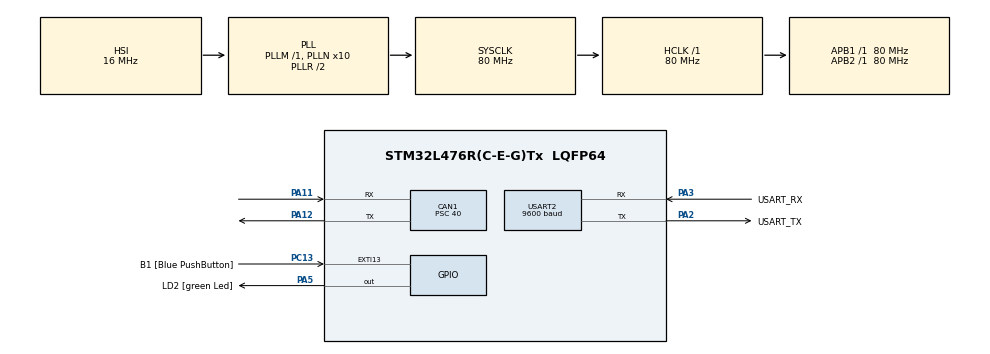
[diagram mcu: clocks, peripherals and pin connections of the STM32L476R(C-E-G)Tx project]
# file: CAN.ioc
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CAN1.BS1=CAN_BS1_10TQ
CAN1.BS2=CAN_BS2_6TQ
CAN1.CalculateTimeQuantum=500.0
CAN1.Mode=CAN_MODE_SILENT_LOOPBACK
CAN1.NART=ENABLE
CAN1.Prescaler=40
Mcu.Family=STM32L4
Mcu.Name=STM32L476R(C-E-G)Tx
Mcu.Package=LQFP64
NVIC.PriorityGroup=NVIC_PRIORITYGROUP_4
PA11.Mode=Master
PA11.Signal=CAN1_RX
PA12.Mode=Master
PA12.Signal=CAN1_TX
PA13\ (JTMS-SWDIO).GPIO_Label=TMS
PA13\ (JTMS-SWDIO).Mode=Serial_Wire
PA13\ (JTMS-SWDIO).Signal=SYS_JTMS-SWDIO
PA14\ (JTCK-SWCLK).GPIO_Label=TCK
PA14\ (JTCK-SWCLK).Mode=Serial_Wire
PA14\ (JTCK-SWCLK).Signal=SYS_JTCK-SWCLK
PA2.GPIO_Label=USART_TX
PA2.GPIO_Mode=GPIO_MODE_AF_PP
PA2.GPIO_PuPd=GPIO_NOPULL
PA2.GPIO_Speed=GPIO_SPEED_FREQ_VERY_HIGH
PA2.Mode=Asynchronous
PA2.Signal=USART2_TX
PA3.GPIO_Label=USART_RX
PA3.GPIO_Mode=GPIO_MODE_AF_PP
PA3.GPIO_PuPd=GPIO_NOPULL
PA3.GPIO_Speed=GPIO_SPEED_FREQ_VERY_HIGH
PA3.Mode=Asynchronous
PA3.Signal=USART2_RX
PA5.GPIO_Label=LD2 [green Led]
PA5.GPIO_ModeDefaultOutputPP=GPIO_MODE_OUTPUT_PP
PA5.GPIO_PuPd=GPIO_NOPULL
PA5.GPIO_Speed=GPIO_SPEED_FREQ_LOW
PA5.Signal=GPIO_Output
PB3\ (JTDO-TRACESWO).GPIO_Label=SWO
PB3\ (JTDO-TRACESWO).Signal=SYS_JTDO-SWO
PC13.GPIO_Label=B1 [Blue PushButton]
PC13.GPIO_ModeDefaultEXTI=GPIO_MODE_IT_FALLING
PC13.GPIO_PuPd=GPIO_NOPULL
PC13.Signal=GPXTI13
PC14-OSC32_IN\ (PC14).Mode=LSE-External-Oscillator
PC14-OSC32_IN\ (PC14).Signal=RCC_OSC32_IN
PC15-OSC32_OUT\ (PC15).Mode=LSE-External-Oscillator
PC15-OSC32_OUT\ (PC15).Signal=RCC_OSC32_OUT
PH0-OSC_IN\ (PH0).Signal=RCC_OSC_IN
PH1-OSC_OUT\ (PH1).Signal=RCC_OSC_OUT
ProjectManager.HeapSize=0x200
ProjectManager.StackSize=0x400
ProjectManager.TargetToolchain=TrueSTUDIO
RCC.ADCFreq_Value=64000000
RCC.AHBFreq_Value=80000000
RCC.APB1Freq_Value=80000000
RCC.APB1TimFreq_Value=80000000
RCC.APB2Freq_Value=80000000
RCC.APB2TimFreq_Value=80000000
RCC.CortexFreq_Value=80000000
RCC.HCLKFreq_Value=80000000
RCC.HSE_Timout=100
RCC.HSE_VALUE=8000000
RCC.HSI_VALUE=16000000
RCC.MSI_VALUE=4000000
RCC.PLLN=10
RCC.PLLSourceVirtual=RCC_PLLSOURCE_HSI
RCC.PREFETCH_ENABLE=1
RCC.SYSCLKFreq_VALUE=80000000
RCC.SYSCLKSource=RCC_SYSCLKSOURCE_PLLCLK
RCC.USBFreq_Value=64000000
RCC.VCOOutputFreq_Value=160000000
USART2.BaudRate=9600
USART2.VirtualMode-Asynchronous=VM_ASYNC
USART2.WordLength=WORDLENGTH_8B
board=NUCLEO-L476RG

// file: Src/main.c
/**
  ******************************************************************************
  * @file           : main.c
  * @brief          : Main program body
  ******************************************************************************
  ** This notice applies to any and all portions of this file
  * that are not between comment pairs USER CODE BEGIN and
  * USER CODE END. Other portions of this file, whether
  * inserted by the user or by software development tools
  * are owned by their respective copyright owners.
  *
  * COPYRIGHT(c) 2018 STMicroelectronics
  *
  * Redistribution and use in source and binary forms, with or without modification,
  * are permitted provided that the following conditions are met:
  *   1. Redistributions of source code must retain the above copyright notice,
  *      this list of conditions and the following disclaimer.
  *   2. Redistributions in binary form must reproduce the above copyright notice,
  *      this list of conditions and the following disclaimer in the documentation
  *      and/or other materials provided with the distribution.
  *   3. Neither the name of STMicroelectronics nor the names of its contributors
  *      may be used to endorse or promote products derived from this software
  *      without specific prior written permission.
  *
  * THIS SOFTWARE IS PROVIDED BY THE COPYRIGHT HOLDERS AND CONTRIBUTORS "AS IS"
  * AND ANY EXPRESS OR IMPLIED WARRANTIES, INCLUDING, BUT NOT LIMITED TO, THE
  * IMPLIED WARRANTIES OF MERCHANTABILITY AND FITNESS FOR A PARTICULAR PURPOSE ARE
  * DISCLAIMED. IN NO EVENT SHALL THE COPYRIGHT HOLDER OR CONTRIBUTORS BE LIABLE
  * FOR ANY DIRECT, INDIRECT, INCIDENTAL, SPECIAL, EXEMPLARY, OR CONSEQUENTIAL
  * DAMAGES (INCLUDING, BUT NOT LIMITED TO, PROCUREMENT OF SUBSTITUTE GOODS OR
  * SERVICES; LOSS OF USE, DATA, OR PROFITS; OR BUSINESS INTERRUPTION) HOWEVER
  * CAUSED AND ON ANY THEORY OF LIABILITY, WHETHER IN CONTRACT, STRICT LIABILITY,
  * OR TORT (INCLUDING NEGLIGENCE OR OTHERWISE) ARISING IN ANY WAY OUT OF THE USE
  * OF THIS SOFTWARE, EVEN IF ADVISED OF THE POSSIBILITY OF SUCH DAMAGE.
  *
  ******************************************************************************
  */
#include "main.h"
#include "stm32l4xx_hal.h"

CAN_HandleTypeDef hcan1;

UART_HandleTypeDef huart2;

/* USER CODE BEGIN PV */
/* Private variables ---------------------------------------------------------*/
#define STD_ID1 0x0001  // CAN Standard Identifier 1
#define STD_ID2 0x0002  // CAN Standard Identifier 2
#define FILTER_ID1 0x0001  // Filter 1
#define FILTER_MASK1 0x003F  // Mask 1
#define FILTER_ID2 0x0002  // Filter 2
#define FILTER_MASK2 0x003F  // Mask 2
/* USER CODE END PV */

void SystemClock_Config(void);
static void MX_GPIO_Init(void);
static void MX_USART2_UART_Init(void);
static void MX_CAN1_Init(void);

/* USER CODE BEGIN PFP */
/* Private function prototypes -----------------------------------------------*/

/* USER CODE END PFP */

/* USER CODE BEGIN 0 */
// printf redirect
int _write(int file, char *pbuf, int len) {
  HAL_UART_Transmit(&huart2, (uint8_t *)pbuf, len, 1000);
  return len;
}
/* USER CODE END 0 */

int main(void)
{
  /* USER CODE BEGIN 1 */
  uint8_t payload1[] = "Hello!\0";  // Payload for StdID 1
  uint8_t payload2[] = "World!\0";  // Payload for StdID 2

  uint8_t RxData[8] = { 0 };
  CAN_RxHeaderTypeDef RxHeader;

  uint32_t TxMailbox1;
  uint32_t TxMailbox2;

  CAN_TxHeaderTypeDef header1;
  header1.StdId = STD_ID1;
  header1.ExtId = 0x0000;
  header1.DLC = sizeof(payload1);
  header1.RTR = CAN_RTR_DATA;
  header1.IDE = CAN_ID_STD;
  header1.TransmitGlobalTime = DISABLE;

  CAN_TxHeaderTypeDef header2;
  header2.StdId = STD_ID2;
  header2.ExtId = 0x0000;
  header2.DLC = sizeof(payload2);
  header2.RTR = CAN_RTR_DATA;
  header2.IDE = CAN_ID_STD;
  header2.TransmitGlobalTime = DISABLE;

  /*
   * Filter setting for Filter Bank 0
   * STM32L4 reference manual P1657
   */
  CAN_FilterTypeDef filterConf0;
  filterConf0.FilterBank = 0;
  filterConf0.FilterMode = CAN_FILTERMODE_IDMASK;
  filterConf0.FilterScale = CAN_FILTERSCALE_32BIT;
  filterConf0.FilterIdHigh = FILTER_ID1 << 5;
  filterConf0.FilterIdLow = 0x0000;
  filterConf0.FilterMaskIdHigh = FILTER_MASK1 << 5;
  filterConf0.FilterMaskIdLow = 0x0000;
  filterConf0.FilterFIFOAssignment = CAN_RX_FIFO0;
  filterConf0.FilterActivation = ENABLE;

  /*
   * Filter setting for Filter Bank 1
   * STM32L4 reference manual P1657
   */
  CAN_FilterTypeDef filterConf1;
  filterConf1.FilterBank = 1;
  filterConf1.FilterMode = CAN_FILTERMODE_IDMASK;
  filterConf1.FilterScale = CAN_FILTERSCALE_32BIT;
  filterConf1.FilterIdHigh = FILTER_ID2 << 5;
  filterConf1.FilterIdLow = 0x0000;
  filterConf1.FilterMaskIdHigh = FILTER_MASK2 << 5;
  filterConf1.FilterMaskIdLow = 0x0000;
  filterConf1.FilterFIFOAssignment = CAN_RX_FIFO1;
  filterConf1.FilterActivation = ENABLE;

  /* USER CODE END 1 */

  /* MCU Configuration----------------------------------------------------------*/

  /* Reset of all peripherals, Initializes the Flash interface and the Systick. */
  HAL_Init();

  /* Configure the system clock */
  SystemClock_Config();

  /* Initialize all configured peripherals */
  MX_GPIO_Init();
  MX_USART2_UART_Init();
  MX_CAN1_Init();
  /* USER CODE BEGIN 2 */
  if (HAL_CAN_ConfigFilter(&hcan1, &filterConf0) != HAL_OK) {
    Error_Handler();
  }
  if (HAL_CAN_ConfigFilter(&hcan1, &filterConf1) != HAL_OK) {
    Error_Handler();
  }

  if (HAL_CAN_Start(&hcan1) != HAL_OK) {
    Error_Handler();
  }
  /* USER CODE END 2 */

  /* Infinite loop */
  /* USER CODE BEGIN WHILE */
  while (1)
  {

    // Transmit message
    if (HAL_CAN_AddTxMessage(&hcan1, &header1, payload1, &TxMailbox1) != HAL_OK) {
      Error_Handler();
    }
    printf("\n[1] MailBox#: %d\n", (int)TxMailbox1);

    // Wait for all the three mailboxes to be free
    while(HAL_CAN_GetTxMailboxesFreeLevel(&hcan1) != 3) {
      HAL_Delay(8);
    }

    if (HAL_CAN_AddTxMessage(&hcan1, &header2, payload2, &TxMailbox2) != HAL_OK) {
      Error_Handler();
    }
    printf("[2] MailBox#: %d\n", (int)TxMailbox2);

    // Wait for all the three mailboxes to be free
    while(HAL_CAN_GetTxMailboxesFreeLevel(&hcan1) != 3) {
      HAL_Delay(8);
    }

    // Wait for incoming message to be filled
    while(HAL_CAN_GetRxFifoFillLevel(&hcan1, CAN_RX_FIFO0) == 0) {
      HAL_Delay(8);
    }

    // Get the incoming message
    if(HAL_CAN_GetRxMessage(&hcan1, CAN_RX_FIFO0, &RxHeader, RxData) != HAL_OK) {
      Error_Handler();
    } else {
      printf("[1] StdId: %d\n", (int)RxHeader.StdId);
      printf("[1] RX_FIFO0: %s\n", RxData);
    }

    // Wait for incoming message to be filled
    while(HAL_CAN_GetRxFifoFillLevel(&hcan1, CAN_RX_FIFO1) == 0) {
      HAL_Delay(8);
    }

    // Get the incoming message
    if(HAL_CAN_GetRxMessage(&hcan1, CAN_RX_FIFO1, &RxHeader, RxData) != HAL_OK) {
      Error_Handler();
    } else {
      printf("[2] StdId: %d\n", (int)RxHeader.StdId);
      printf("[2] RX_FIFO1: %s\n", RxData);
    }

    HAL_GPIO_TogglePin(LD2_GPIO_Port, LD2_Pin);
    HAL_Delay(1000);

  /* USER CODE END WHILE */

  }

}

void SystemClock_Config(void)
{

  RCC_OscInitTypeDef RCC_OscInitStruct;
  RCC_ClkInitTypeDef RCC_ClkInitStruct;
  RCC_PeriphCLKInitTypeDef PeriphClkInit;

    /**Initializes the CPU, AHB and APB busses clocks
    */
  RCC_OscInitStruct.OscillatorType = RCC_OSCILLATORTYPE_HSI;
  RCC_OscInitStruct.HSIState = RCC_HSI_ON;
  RCC_OscInitStruct.HSICalibrationValue = 16;
  RCC_OscInitStruct.PLL.PLLState = RCC_PLL_ON;
  RCC_OscInitStruct.PLL.PLLSource = RCC_PLLSOURCE_HSI;
  RCC_OscInitStruct.PLL.PLLM = 1;
  RCC_OscInitStruct.PLL.PLLN = 10;
  RCC_OscInitStruct.PLL.PLLP = RCC_PLLP_DIV7;
  RCC_OscInitStruct.PLL.PLLQ = RCC_PLLQ_DIV2;
  RCC_OscInitStruct.PLL.PLLR = RCC_PLLR_DIV2;
  if (HAL_RCC_OscConfig(&RCC_OscInitStruct) != HAL_OK)
  {
    _Error_Handler(__FILE__, __LINE__);
  }

    /**Initializes the CPU, AHB and APB busses clocks
    */
  RCC_ClkInitStruct.ClockType = RCC_CLOCKTYPE_HCLK|RCC_CLOCKTYPE_SYSCLK
                              |RCC_CLOCKTYPE_PCLK1|RCC_CLOCKTYPE_PCLK2;
  RCC_ClkInitStruct.SYSCLKSource = RCC_SYSCLKSOURCE_PLLCLK;
  RCC_ClkInitStruct.AHBCLKDivider = RCC_SYSCLK_DIV1;
  RCC_ClkInitStruct.APB1CLKDivider = RCC_HCLK_DIV1;
  RCC_ClkInitStruct.APB2CLKDivider = RCC_HCLK_DIV1;

  if (HAL_RCC_ClockConfig(&RCC_ClkInitStruct, FLASH_LATENCY_4) != HAL_OK)
  {
    _Error_Handler(__FILE__, __LINE__);
  }

  PeriphClkInit.PeriphClockSelection = RCC_PERIPHCLK_USART2;
  PeriphClkInit.Usart2ClockSelection = RCC_USART2CLKSOURCE_PCLK1;
  if (HAL_RCCEx_PeriphCLKConfig(&PeriphClkInit) != HAL_OK)
  {
    _Error_Handler(__FILE__, __LINE__);
  }

    /**Configure the main internal regulator output voltage
    */
  if (HAL_PWREx_ControlVoltageScaling(PWR_REGULATOR_VOLTAGE_SCALE1) != HAL_OK)
  {
    _Error_Handler(__FILE__, __LINE__);
  }

    /**Configure the Systick interrupt time
    */
  HAL_SYSTICK_Config(HAL_RCC_GetHCLKFreq()/1000);

    /**Configure the Systick
    */
  HAL_SYSTICK_CLKSourceConfig(SYSTICK_CLKSOURCE_HCLK);

  /* SysTick_IRQn interrupt configuration */
  HAL_NVIC_SetPriority(SysTick_IRQn, 0, 0);
}

/* CAN1 init function */
static void MX_CAN1_Init(void)
{

  hcan1.Instance = CAN1;
  hcan1.Init.Prescaler = 40;
  hcan1.Init.Mode = CAN_MODE_SILENT_LOOPBACK;
  hcan1.Init.SyncJumpWidth = CAN_SJW_1TQ;
  hcan1.Init.TimeSeg1 = CAN_BS1_10TQ;
  hcan1.Init.TimeSeg2 = CAN_BS2_6TQ;
  hcan1.Init.TimeTriggeredMode = DISABLE;
  hcan1.Init.AutoBusOff = DISABLE;
  hcan1.Init.AutoWakeUp = DISABLE;
  hcan1.Init.AutoRetransmission = ENABLE;
  hcan1.Init.ReceiveFifoLocked = DISABLE;
  hcan1.Init.TransmitFifoPriority = DISABLE;
  if (HAL_CAN_Init(&hcan1) != HAL_OK)
  {
    _Error_Handler(__FILE__, __LINE__);
  }

}

/* USART2 init function */
static void MX_USART2_UART_Init(void)
{

  huart2.Instance = USART2;
  huart2.Init.BaudRate = 9600;
  huart2.Init.WordLength = UART_WORDLENGTH_8B;
  huart2.Init.StopBits = UART_STOPBITS_1;
  huart2.Init.Parity = UART_PARITY_NONE;
  huart2.Init.Mode = UART_MODE_TX_RX;
  huart2.Init.HwFlowCtl = UART_HWCONTROL_NONE;
  huart2.Init.OverSampling = UART_OVERSAMPLING_16;
  huart2.Init.OneBitSampling = UART_ONE_BIT_SAMPLE_DISABLE;
  huart2.AdvancedInit.AdvFeatureInit = UART_ADVFEATURE_NO_INIT;
  if (HAL_UART_Init(&huart2) != HAL_OK)
  {
    _Error_Handler(__FILE__, __LINE__);
  }

}

/** Configure pins as
        * Analog
        * Input
        * Output
        * EVENT_OUT
        * EXTI
*/
static void MX_GPIO_Init(void)
{

  GPIO_InitTypeDef GPIO_InitStruct;

  /* GPIO Ports Clock Enable */
  __HAL_RCC_GPIOC_CLK_ENABLE();
  __HAL_RCC_GPIOH_CLK_ENABLE();
  __HAL_RCC_GPIOA_CLK_ENABLE();
  __HAL_RCC_GPIOB_CLK_ENABLE();

  /*Configure GPIO pin Output Level */
  HAL_GPIO_WritePin(LD2_GPIO_Port, LD2_Pin, GPIO_PIN_RESET);

  /*Configure GPIO pin : B1_Pin */
  GPIO_InitStruct.Pin = B1_Pin;
  GPIO_InitStruct.Mode = GPIO_MODE_IT_FALLING;
  GPIO_InitStruct.Pull = GPIO_NOPULL;
  HAL_GPIO_Init(B1_GPIO_Port, &GPIO_InitStruct);

  /*Configure GPIO pin : LD2_Pin */
  GPIO_InitStruct.Pin = LD2_Pin;
  GPIO_InitStruct.Mode = GPIO_MODE_OUTPUT_PP;
  GPIO_InitStruct.Pull = GPIO_NOPULL;
  GPIO_InitStruct.Speed = GPIO_SPEED_FREQ_LOW;
  HAL_GPIO_Init(LD2_GPIO_Port, &GPIO_InitStruct);

}

void _Error_Handler(char *file, int line)
{
  while(1)
  {
  }
}

/************************ (C) COPYRIGHT STMicroelectronics *****END OF FILE****/
